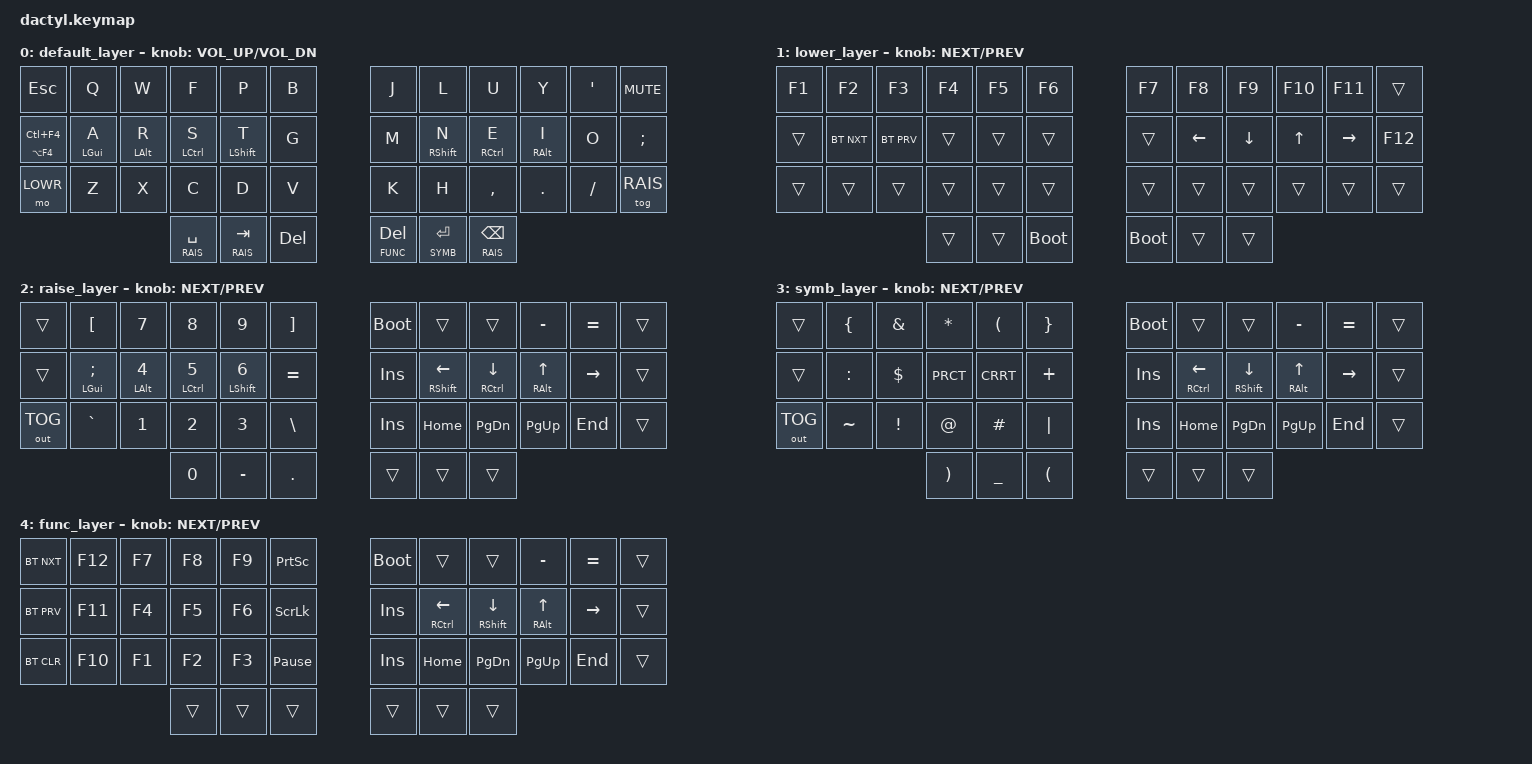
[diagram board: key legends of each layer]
#include <behaviors.dtsi>
#include <dt-bindings/zmk/keys.h>
#include <dt-bindings/zmk/bt.h>
#include <dt-bindings/zmk/outputs.h>

#define LOWR 1
#define RAIS 2
#define SYMB 3
#define FUNC 4

/ {
        behaviors {
                hm: homerow_mods {
                    compatible = "zmk,behavior-hold-tap";
                    label = "HOMEROW_MODS";
                    #binding-cells = <2>;
                    tapping-term-ms = <200>;
                    quick-tap-ms = <0>;
                    flavor = "tap-preferred";
                    bindings = <&kp>, <&kp>;
                };
        };


        keymap {
                compatible = "zmk,keymap";

                default_layer {
                        bindings = <
// ╭─────────────┬─────────────┬─────────────┬─────────────┬─────────────┬─────────────╮   ╭─────────────┬─────────────┬─────────────┬─────────────┬─────────────┬─────────────╮
        &kp ESC     &kp Q        &kp W         &kp F         &kp P           &kp B             &kp J       &kp L         &kp U          &kp Y        &kp SQT       &kp C_MUTE
// ├─────────────┼─────────────┼─────────────┼─────────────┼─────────────┼─────────────┤   ├─────────────┼─────────────┼─────────────┼─────────────┼─────────────┼─────────────┤
  &mt LA(F4) LC(F4) &hm LGUI A   &hm LALT R    &hm LCTRL S   &hm LSHIFT T    &kp G             &kp M       &hm RSHIFT N  &hm RCTRL E    &hm RALT I   &kp O         &kp SEMI
// ├─────────────┼─────────────┼─────────────┼─────────────┼─────────────┼─────────────┤   ├─────────────┼─────────────┼─────────────┼─────────────┼─────────────┼─────────────┤
        &mo LOWR    &kp Z        &kp X         &kp C         &kp D           &kp V             &kp K       &kp H         &kp COMMA      &kp DOT      &kp FSLH      &tog RAIS     
// ╰─────────────┴─────────────┴─────────────┴─────────────┼─────────────┼─────────────┤   ├─────────────┼─────────────┼─────────────┴─────────────┴─────────────┴─────────────╯
                                             &lt RAIS SPACE  &lt RAIS TAB    &kp DEL         &lt FUNC DEL  &lt SYMB RET  &lt RAIS BSPC      
//                                           ╰─────────────┴─────────────┴─────────────╯   ╰─────────────┴─────────────┴─────────────╯
                        >;

                        sensor-bindings = <&inc_dec_kp C_VOL_UP C_VOL_DN>;
                };

                lower_layer {
                        bindings = <
// ╭─────────────┬─────────────┬─────────────┬─────────────┬─────────────┬─────────────╮   ╭─────────────┬─────────────┬─────────────┬─────────────┬─────────────┬─────────────╮
        &kp F1      &kp F2       &kp F3        &kp F4        &kp F5          &kp F6            &kp F7      &kp F8        &kp F9         &kp F10      &kp F11       &trans
// ├─────────────┼─────────────┼─────────────┼─────────────┼─────────────┼─────────────┤   ├─────────────┼─────────────┼─────────────┼─────────────┼─────────────┼─────────────┤
        &trans      &bt BT_NXT   &bt BT_PRV    &trans        &trans          &trans            &trans      &kp LEFT    &kp DOWN      &kp UP         &kp RIGHT         &kp F12
// ├─────────────┼─────────────┼─────────────┼─────────────┼─────────────┼─────────────┤   ├─────────────┼─────────────┼─────────────┼─────────────┼─────────────┼─────────────┤
        &trans      &trans       &trans        &trans        &trans          &trans            &trans      &trans        &trans         &trans       &trans        &trans
// ╰─────────────┴─────────────┴─────────────┴─────────────┼─────────────┼─────────────┤   ├─────────────┼─────────────┼─────────────┴─────────────┴─────────────┴─────────────╯
                                               &trans        &trans        &bootloader       &bootloader   &trans        &trans
//                                           ╰─────────────┴─────────────┴─────────────╯   ╰─────────────┴─────────────┴─────────────╯
                        >;
                        
                        sensor-bindings = <&inc_dec_kp C_NEXT C_PREV>;
                };

                raise_layer {
                        bindings = <
// ╭─────────────┬─────────────┬─────────────┬─────────────┬─────────────┬─────────────╮   ╭─────────────┬─────────────┬─────────────┬─────────────┬─────────────┬─────────────╮
        &trans      &kp LBKT       &kp N7        &kp N8        &kp N9       &kp RBKT         &bootloader     &trans        &trans      &kp MINUS      &kp EQUAL     &trans
// ├─────────────┼─────────────┼─────────────┼─────────────┼─────────────┼─────────────┤   ├─────────────┼─────────────┼─────────────┼─────────────┼─────────────┼─────────────┤
        &trans    &hm LGUI SEMI &hm LALT N4   &hm LCTRL N5  &hm LSHIFT N6   &kp EQL           &kp INS    &hm RSHIFT LEFT &hm RCTRL DOWN &hm RALT UP   &kp RIGHT     &trans
// ├─────────────┼─────────────┼─────────────┼─────────────┼─────────────┼─────────────┤   ├─────────────┼─────────────┼─────────────┼─────────────┼─────────────┼─────────────┤
     &out OUT_TOG   &kp GRAVE      &kp N1        &kp N2        &kp N3       &kp BSLH          &kp INS        &kp HOME     &kp PG_DN    &kp PG_UP      &kp END       &trans
// ╰─────────────┴─────────────┴─────────────┴─────────────┼─────────────┼─────────────┤   ├─────────────┼─────────────┼─────────────┴─────────────┴─────────────┴─────────────╯
                                                 &kp N0        &kp MINUS    &kp DOT           &trans         &trans        &trans
//                                           ╰─────────────┴─────────────┴─────────────╯   ╰─────────────┴─────────────┴─────────────╯
                        >;

                        sensor-bindings = <&inc_dec_kp C_NEXT C_PREV>;
                };

                symb_layer {
                        bindings = <
// ╭─────────────┬─────────────┬─────────────┬─────────────┬─────────────┬─────────────╮   ╭─────────────┬─────────────┬─────────────┬─────────────┬─────────────┬─────────────╮
        &trans      &kp LBRC       &kp AMPS      &kp ASTRK     &kp LPAR     &kp RBRC          &bootloader     &trans        &trans      &kp MINUS      &kp EQUAL     &trans
// ├─────────────┼─────────────┼─────────────┼─────────────┼─────────────┼─────────────┤   ├─────────────┼─────────────┼─────────────┼─────────────┼─────────────┼─────────────┤
        &trans      &kp COLON      &kp DLLR      &kp PRCT      &kp CRRT     &kp PLUS          &kp INS    &hm RCTRL LEFT &hm RSHIFT DOWN &hm RALT UP   &kp RIGHT     &trans
// ├─────────────┼─────────────┼─────────────┼─────────────┼─────────────┼─────────────┤   ├─────────────┼─────────────┼─────────────┼─────────────┼─────────────┼─────────────┤
     &out OUT_TOG   &kp TILDE      &kp EXCL      &kp AT        &kp HASH     &kp PIPE          &kp INS        &kp HOME     &kp PG_DN    &kp PG_UP      &kp END       &trans
// ╰─────────────┴─────────────┴─────────────┴─────────────┼─────────────┼─────────────┤   ├─────────────┼─────────────┼─────────────┴─────────────┴─────────────┴─────────────╯
                                                 &kp RPAR      &kp UNDER    &kp LPAR          &trans         &trans        &trans
//                                           ╰─────────────┴─────────────┴─────────────╯   ╰─────────────┴─────────────┴─────────────╯
                        >;

                        sensor-bindings = <&inc_dec_kp C_NEXT C_PREV>;
                };

                func_layer {
                        bindings = <
// ╭─────────────┬─────────────┬─────────────┬─────────────┬─────────────┬─────────────╮   ╭─────────────┬─────────────┬─────────────┬─────────────┬─────────────┬─────────────╮
      &bt BT_NXT    &kp F12        &kp F7        &kp F8        &kp F9       &kp PSCRN         &bootloader     &trans        &trans      &kp MINUS      &kp EQUAL     &trans
// ├─────────────┼─────────────┼─────────────┼─────────────┼─────────────┼─────────────┤   ├─────────────┼─────────────┼─────────────┼─────────────┼─────────────┼─────────────┤
      &bt BT_PRV    &kp F11        &kp F4        &kp F5        &kp F6       &kp SLCK          &kp INS    &hm RCTRL LEFT &hm RSHIFT DOWN &hm RALT UP   &kp RIGHT     &trans
// ├─────────────┼─────────────┼─────────────┼─────────────┼─────────────┼─────────────┤   ├─────────────┼─────────────┼─────────────┼─────────────┼─────────────┼─────────────┤
      &bt BT_CLR    &kp F10        &kp F1        &kp F2        &kp F3     &kp PAUSE_BREAK     &kp INS        &kp HOME     &kp PG_DN    &kp PG_UP      &kp END       &trans
// ╰─────────────┴─────────────┴─────────────┴─────────────┼─────────────┼─────────────┤   ├─────────────┼─────────────┼─────────────┴─────────────┴─────────────┴─────────────╯
                                                 &trans         &trans        &trans          &trans         &trans        &trans
//                                           ╰─────────────┴─────────────┴─────────────╯   ╰─────────────┴─────────────┴─────────────╯
                        >;

                        sensor-bindings = <&inc_dec_kp C_NEXT C_PREV>;
                };
        };
};
